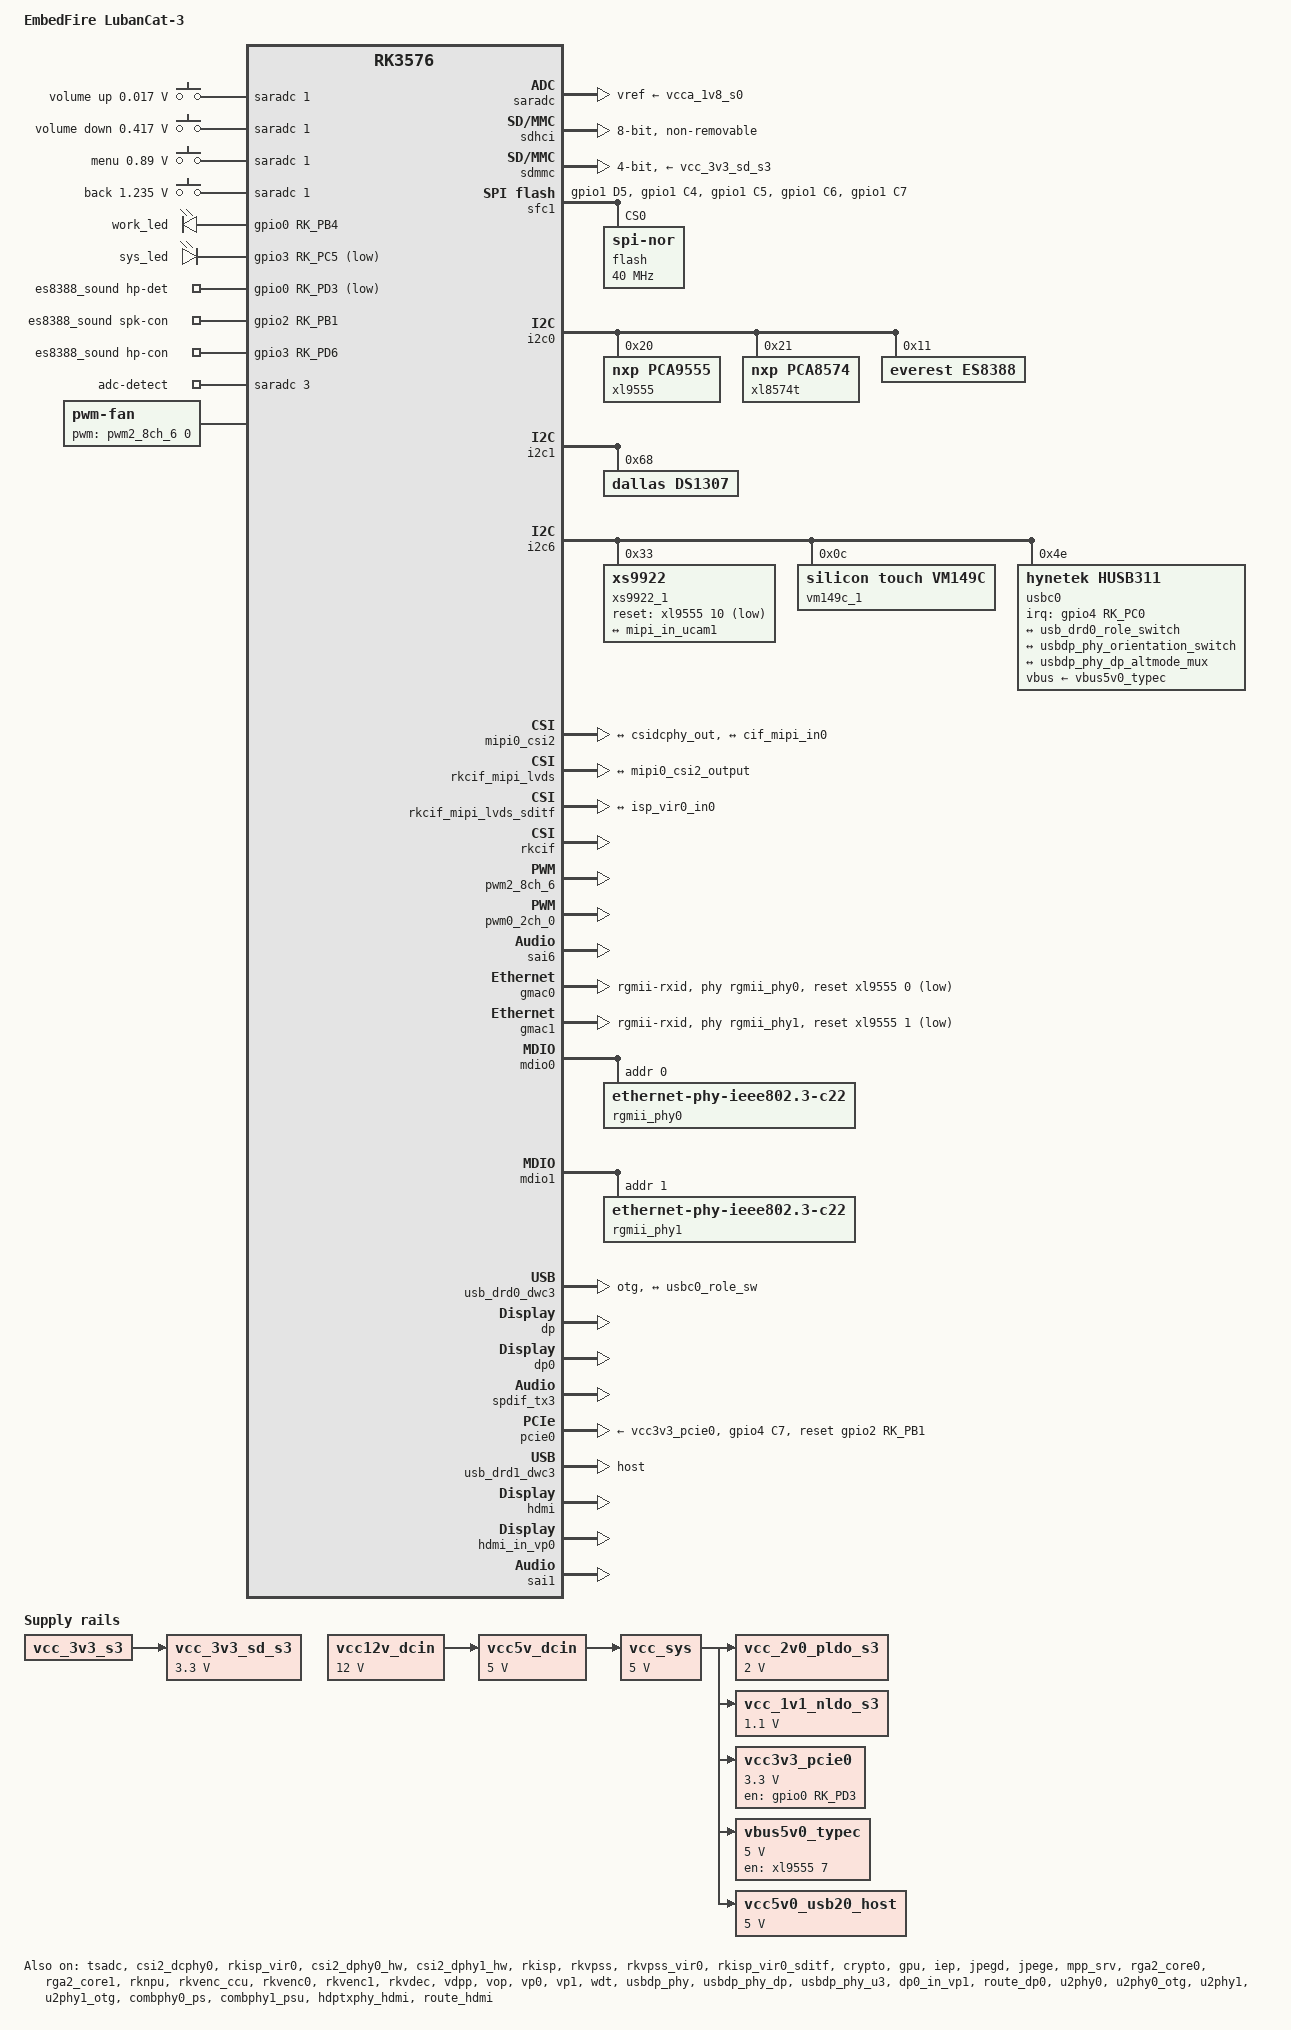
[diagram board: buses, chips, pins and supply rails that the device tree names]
// SPDX-License-Identifier: (GPL-2.0+ OR MIT)
/*
* Copyright (c) 2024 Rockchip Electronics Co., Ltd.
* Copyright (c) 2024 EmbedFire <embedfire@embedfire.com>
*/

/dts-v1/;
#include <dt-bindings/usb/pd.h>
#include <dt-bindings/gpio/gpio.h>
#include <dt-bindings/pwm/pwm.h>
#include <dt-bindings/pinctrl/rockchip.h>
//#include <dt-bindings/input/rk-input.h>
#include <dt-bindings/input/linux-event-codes.h>
#include <dt-bindings/display/drm_mipi_dsi.h>
#include <dt-bindings/display/rockchip_vop.h>
#include <dt-bindings/sensor-dev.h>
#include "rk3576.dtsi"
#include "rk3576-linux.dtsi"
#include "rk3576-rk806.dtsi"

// #include "rk3576-lubancat-3-dsi-vp2-1080x1920-5.5inch-ebf410125.dtsi"
// #include "rk3576-lubancat-3-dsi-vp2-1024x600-7inch-ebf410173.dtsi"
// #include "rk3576-lubancat-3-dsi-vp2-800x1280-10.1inch-ebf410177.dtsi"

// #include "rk3576-lubancat-3-csi.dtsi"

/ {
	model = "EmbedFire LubanCat-3";
	compatible = "embedfire,rk3576-lubancat-3", "rockchip,rk3576";

	adc_keys: adc-keys {
		compatible = "adc-keys";
		io-channels = <&saradc 1>;
		io-channel-names = "buttons";
		keyup-threshold-microvolt = <1800000>;
		poll-interval = <100>;

		vol-up-key {
			label = "volume up";
			linux,code = <KEY_VOLUMEUP>;
			press-threshold-microvolt = <17000>;
		};

		vol-down-key {
			label = "volume down";
			linux,code = <KEY_VOLUMEDOWN>;
			press-threshold-microvolt = <417000>;
		};

		menu-key {
			label = "menu";
			linux,code = <KEY_MENU>;
			press-threshold-microvolt = <890000>;
		};

		back-key {
			label = "back";
			linux,code = <KEY_BACK>;
			press-threshold-microvolt = <1235000>;
		};
	};

	leds: leds {
		compatible = "gpio-leds";
		work_led: work {
			gpios = <&gpio0 RK_PB4 GPIO_ACTIVE_HIGH>;
			linux,default-trigger = "heartbeat";
		};
	};

	vcc12v_dcin: vcc12v-dcin {
		compatible = "regulator-fixed";
		regulator-name = "vcc12v_dcin";
		regulator-always-on;
		regulator-boot-on;
		regulator-min-microvolt = <12000000>;
		regulator-max-microvolt = <12000000>;
	};

	vcc5v_dcin: vcc5v-dcin {
		compatible = "regulator-fixed";
		regulator-name = "vcc5v_dcin";
		regulator-always-on;
		regulator-boot-on;
		regulator-min-microvolt = <5000000>;
		regulator-max-microvolt = <5000000>;
		vin-supply = <&vcc12v_dcin>;
	};

	vcc_sys: vcc5v0-sys {
		compatible = "regulator-fixed";
		regulator-name = "vcc_sys";
		regulator-always-on;
		regulator-boot-on;
		regulator-min-microvolt = <5000000>;
		regulator-max-microvolt = <5000000>;
		vin-supply = <&vcc5v_dcin>;
	};

	vcc_2v0_pldo_s3: vcc-2v0-pldo-s3 {
		compatible = "regulator-fixed";
		regulator-name = "vcc_2v0_pldo_s3";
		regulator-boot-on;
		regulator-always-on;
		regulator-min-microvolt = <2000000>;
		regulator-max-microvolt = <2000000>;
		vin-supply = <&vcc_sys>;
	};

	vcc_1v1_nldo_s3: vcc-1v1-nldo-s3 {
		compatible = "regulator-fixed";
		regulator-name = "vcc_1v1_nldo_s3";
		regulator-boot-on;
		regulator-always-on;
		regulator-min-microvolt = <1100000>;
		regulator-max-microvolt = <1100000>;
		vin-supply = <&vcc_sys>;
	};

	vcc_3v3_sd_s3: vcc-3v3-sd-s3 {
		compatible = "regulator-fixed";
		regulator-name = "vcc_3v3_sd_s3";
		regulator-always-on;
		regulator-boot-on;
		regulator-min-microvolt = <3300000>;
		regulator-max-microvolt = <3300000>;
		vin-supply = <&vcc_3v3_s3>;
	};

	vcc3v3_pcie0: vcc3v3-pcie0 {
		compatible = "regulator-fixed";
		regulator-name = "vcc3v3_pcie0";
		regulator-min-microvolt = <3300000>;
		regulator-max-microvolt = <3300000>;
		enable-active-high;
		regulator-always-on;
		gpios = <&gpio0 RK_PD3 GPIO_ACTIVE_HIGH>;
		startup-delay-us = <5000>;
		vin-supply = <&vcc_sys>;
	};

	vbus5v0_typec: vbus5v0-typec {
		compatible = "regulator-fixed";
		regulator-name = "vbus5v0_typec";
		regulator-min-microvolt = <5000000>;
		regulator-max-microvolt = <5000000>;
		enable-active-high;
		gpio = <&xl9555 7 GPIO_ACTIVE_HIGH>;
		vin-supply = <&vcc_sys>;
	};

	// vcc5v0_usb30_host: vcc5v0-usb30-host {
	// 	compatible = "regulator-fixed";
	// 	regulator-name = "vcc5v0_usb30_host";
	// 	regulator-min-microvolt = <5000000>;
	// 	regulator-max-microvolt = <5000000>;
	// 	regulator-always-on;
	// 	regulator-boot-on;
	// 	enable-active-high;
	// 	gpio = <&gpio0 RK_PB0 GPIO_ACTIVE_HIGH>;
	// 	vin-supply = <&vcc_sys>;
	// 	pinctrl-names = "default";
	// 	pinctrl-0 = <&usb30_host_pwr_en>;
	// };

	vcc5v0_usb20_host: vcc5v0-usb20-host {
		compatible = "regulator-fixed";
		regulator-name = "vcc5v0_usb20_host";
		regulator-min-microvolt = <5000000>;
		regulator-max-microvolt = <5000000>;
		regulator-always-on;
		regulator-boot-on;
		enable-active-high;
		vin-supply = <&vcc_sys>;
	};

	// mipi_dsi_power: mipi-dsi-power {
	// 	compatible = "regulator-fixed";
	// 	regulator-name = "mipi_dsi_power";
	// 	regulator-min-microvolt = <5000000>;
	// 	regulator-max-microvolt = <5000000>;
	// 	regulator-always-on;
	// 	regulator-boot-on;
	// 	enable-active-high;
	// 	gpio = <&gpio0 RK_PB6 GPIO_ACTIVE_HIGH>;
	// 	vin-supply = <&vcc_sys>;
	// 	pinctrl-names = "default";
	// 	pinctrl-0 = <&lcd_pwr_en>;
	// };

	es8388_sound: es8388-sound {
		status = "okay";
		compatible = "rockchip,multicodecs-card";
		rockchip,card-name = "rockchip-es8388";
		hp-det-gpio = <&gpio0 RK_PD3 GPIO_ACTIVE_LOW>;
		io-channels = <&saradc 3>;
		io-channel-names = "adc-detect";
		keyup-threshold-microvolt = <1800000>;
		poll-interval = <100>;
		spk-con-gpio = <&gpio2 RK_PB1 GPIO_ACTIVE_HIGH>;
		hp-con-gpio = <&gpio3 RK_PD6 GPIO_ACTIVE_HIGH>;
		rockchip,pre-power-on-delay-ms = <30>;
		rockchip,post-power-down-delay-ms = <40>;
		rockchip,format = "i2s";
		rockchip,mclk-fs = <256>;
		rockchip,cpu = <&sai1>;
		rockchip,codec = <&es8388>;
		rockchip,audio-routing =
			"Headphone", "LOUT1",
			"Headphone", "ROUT1",
			"Speaker", "LOUT2",
			"Speaker", "ROUT2",
			"Headphone", "Headphone Power",
			"Headphone", "Headphone Power",
			"Speaker", "Speaker Power",
			"Speaker", "Speaker Power",
			"LINPUT1", "Main Mic",
			"LINPUT2", "Main Mic",
			"RINPUT1", "Headset Mic",
			"RINPUT2", "Headset Mic";
		pinctrl-names = "default";
		pinctrl-0 = <&hp_det>;
		play-pause-key {
			label = "playpause";
			linux,code = <KEY_PLAYPAUSE>;
			press-threshold-microvolt = <2000>;
		};
	};


	hdmi_sound: hdmi-sound {
		compatible = "rockchip,hdmi";
		rockchip,mclk-fs = <128>;
		rockchip,card-name = "rockchip-hdmi";
		rockchip,cpu = <&sai6>;
		rockchip,codec = <&hdmi>;
		rockchip,jack-det;
	};

	dp0_sound: dp0-sound {
		compatible = "rockchip,hdmi";
		rockchip,mclk-fs = <512>;
		rockchip,card-name = "rockchip-dp0";
		rockchip,cpu = <&spdif_tx3>;
		rockchip,codec = <&dp0 1>;
		rockchip,jack-det;
	};

	leds: leds {
		status = "okay";
		compatible = "gpio-leds";

		sys_led: sys-led {
			label = "sys_led";
			linux,default-trigger = "heartbeat";
			default-state = "on";
			gpios = <&gpio3 RK_PC5 GPIO_ACTIVE_LOW>;
			pinctrl-names = "default";
			pinctrl-0 = <&sys_status_led_pin>;
		};
	};

	fan: pwm-fan {
		compatible = "pwm-fan";
		#cooling-cells = <2>;
		pwms = <&pwm2_8ch_6 0 5000 0>;
		cooling-levels = <0 100 150 200 255>;
		rockchip,temp-trips = <
			40000	1
			55000	2
			60000	3
			65000	4
		>;
	};

	test-power {
		status = "okay";
	};
};

&saradc {
	status = "okay";
	vref-supply = <&vcca_1v8_s0>;
};

&tsadc {
	status = "okay";
};

&sdhci {
	bus-width = <8>;
	no-sdio;
	no-sd;
	non-removable;
	max-frequency = <200000000>;
	mmc-hs400-1_8v;
	mmc-hs400-enhanced-strobe;
	full-pwr-cycle-in-suspend;
	status = "okay";
};

&sdmmc {
	max-frequency = <200000000>;
	no-sdio;
	no-mmc;
	bus-width = <4>;
	cap-mmc-highspeed;
	cap-sd-highspeed;
	disable-wp;
	sd-uhs-sdr104;
	vmmc-supply = <&vcc_3v3_sd_s3>;
	vqmmc-supply = <&vccio_sd_s0>;
	pinctrl-names = "default";
	pinctrl-0 = <&sdmmc0_clk &sdmmc0_cmd &sdmmc0_det &sdmmc0_bus4>;
	status = "okay";
};

&sfc1 {
	status = "okay";
	pinctrl-names = "default";
	pinctrl-0 = <&fspi1m1_correct_pins &fspi1m1_csn0>;

	flash@0 {
		compatible = "jedec,spi-nor";
		reg = <0>;
		spi-max-frequency = <40000000>;
		spi-rx-bus-width = <4>;
		spi-tx-bus-width = <1>;
	};
};

&i2c0 {
	pinctrl-0 = <&i2c0m0_xfer>;
	status = "okay";

	xl9555: xl9555@20 {
		status = "okay";
		compatible = "nxp,pca9555";
		reg = <0x20>;
		gpio-controller;
		#gpio-cells = <2>;
		gpio-group-num = <200>;
	};

        xl8574t: xl8574@21 {
		status = "okay";
		compatible = "nxp,pca8574";
		reg = <0x21>;
		gpio-controller;
		#gpio-cells = <2>;
	};

	es8388: es8388@11 {
		status = "okay";
		#sound-dai-cells = <0>;
		compatible = "everest,es8388", "everest,es8323";
		reg = <0x11>;
		clocks = <&mclkout_sai1>;
		clock-names = "mclk";
		assigned-clocks = <&mclkout_sai1>;
		assigned-clock-rates = <12288000>;
		pinctrl-names = "default";
		pinctrl-0 = <&sai1m0_mclk>;
	};
};

&i2c1 {
	status = "okay";

	ds1307@68 {
		compatible = "dallas,ds1307";
		reg = <0x68>;
		status = "okay";
	};
};

&i2c4 {
	status = "disabled";
};

&i2c6 {
	status = "okay";
	pinctrl-names = "default";
	pinctrl-0 = <&i2c6m0_xfer>;

	xs9922_1: xs9922@33 {
        compatible = "xs9922";
        status = "okay";
        reg = <0x33>;
        clocks = <&cru CLK_MIPI_CAMERAOUT_M2>;
        clock-names = "xvclk";
        // power-domains = <&power RK3588_PD_VI>;
        // pinctrl-names = "default";
        // pinctrl-0 = <&mipim0_camera2_clk &xs9922_pwr_1>;
		// &xl9555 PCA_IO0_0
        reset-gpios = <&xl9555 10 GPIO_ACTIVE_LOW>;
        //power-gpios = <&xl9555 10 GPIO_ACTIVE_LOW>;
        //avdd-supply = <&vcc_avdd>;
        //dovdd-supply = <&vcc_dovdd>;
        //dvdd-supply = <&vcc_dvdd>;
        rockchip,camera-module-index = <0>;
        rockchip,camera-module-facing = "back";
        rockchip,camera-module-name = "default";
        rockchip,camera-module-lens-name = "default";
        rockchip,default_rect= <720 576>; 
        port {
            xs9922_out1: endpoint {
                remote-endpoint = <&mipi_in_ucam1>;
                data-lanes = <1 2 3 4>;
            };
        };
    };

	vm149c_1: vm149c@c {
                compatible = "silicon touch,vm149c";
                status = "okay";
                reg = <0x0c>;
                rockchip,camera-module-index = <0>;
                rockchip,camera-module-facing = "back";
        };

    // ov13855_1: ov13855@36 {
    //             compatible = "ovti,ov13855";
    //             status = "okay";
    //             reg = <0x36>;
    //             clocks = <&cru CLK_MIPI_CAMERAOUT_M1>;
    //             clock-names = "xvclk";
    //             pwdn-gpios = <&xl9555 8 GPIO_ACTIVE_HIGH>;
    //             power-domains = <&power RK3576_PD_VI>;
    //             rockchip,camera-module-index = <1>;
    //             rockchip,camera-module-facing = "back";
    //             rockchip,camera-module-name = "RK-CMK-8M-2-v1";
    //             rockchip,camera-module-lens-name = "CK8401";
    //             lens-focus = <&vm149c_1>;

    //             port {
    //                     camera5_out: endpoint {
    //                             remote-endpoint = <&mipi_dcphy_in_tl13855>;
    //                             data-lanes = <1 2 3 4>;
    //                     };
    //             };
    //     };

	usbc0: husb311@4e {
		compatible = "hynetek,husb311";
		reg = <0x4e>;
		interrupt-parent = <&gpio4>;
		interrupts = <RK_PC0 IRQ_TYPE_LEVEL_LOW>;
		pinctrl-names = "default";
		pinctrl-0 = <&usbc0_int>;
		vbus-supply = <&vbus5v0_typec>;
		status = "okay";

		port {
			usbc0_role_sw: endpoint {
				remote-endpoint = <&usb_drd0_role_switch>;
			};
		};

		usb_con: connector {
			compatible = "usb-c-connector";
			label = "USB-C";
			data-role = "dual";
			power-role = "dual";
			try-power-role = "sink";
			op-sink-microwatt = <1000000>;
			sink-pdos =
				<PDO_FIXED(5000, 1000, PDO_FIXED_USB_COMM)>;
			source-pdos =
				<PDO_FIXED(5000, 3000, PDO_FIXED_USB_COMM)>;
			mode-switch = <&dp>;

			altmodes {
				#address-cells = <1>;
				#size-cells = <0>;

				altmode@0 {
					reg = <0>;
					svid = <0xff01>;
					vdo = <0xffffffff>;
				};
			};

			ports {
				#address-cells = <1>;
				#size-cells = <0>;

				port@0 {
					reg = <0>;
					usbc0_orien_sw: endpoint {
						remote-endpoint = <&usbdp_phy_orientation_switch>;
					};
				};

				port@1 {
					reg = <1>;
					dp_altmode_mux: endpoint {
						remote-endpoint = <&usbdp_phy_dp_altmode_mux>;
					};
				};
			};
		};
	};
};

&csi2_dcphy0 {
	status = "okay";

	ports {
                #address-cells = <1>;
                #size-cells = <0>;
                port@0 {
				reg = <0>;
				#address-cells = <1>;
				#size-cells = <0>;

				mipi_in_ucam1: endpoint@1 {
					reg = <1>;
					remote-endpoint = <&xs9922_out1>;
					data-lanes = <1 2 3 4>;
				};
						};
                port@1 {
                        reg = <1>;
                        #address-cells = <1>;
                        #size-cells = <0>;

                        csidcphy_out: endpoint@0 {
                                reg = <0>;
                                remote-endpoint = <&mipi0_csi2_input>;
                        };
                };
        };
};


&mipi0_csi2 {
        status = "okay";

        ports {
                #address-cells = <1>;
                #size-cells = <0>;

                port@0 {
                        reg = <0>;
                        #address-cells = <1>;
                        #size-cells = <0>;

                        mipi0_csi2_input: endpoint@1 {
                                reg = <1>;
                                remote-endpoint = <&csidcphy_out>;
                        };
                };

                port@1 {
                        reg = <1>;
                        #address-cells = <1>;
                        #size-cells = <0>;

                        mipi0_csi2_output: endpoint@0 {
                                reg = <0>;
                                remote-endpoint = <&cif_mipi_in0>;
                        };
                };
        };
};


&rkcif_mipi_lvds {
        status = "okay";

        port {
                cif_mipi_in0: endpoint {
                        remote-endpoint = <&mipi0_csi2_output>;
                };
        };
};


&rkcif_mipi_lvds_sditf {
	status = "okay";

	port {
                mipi_lvds_sditf: endpoint {
                        remote-endpoint = <&isp_vir0_in0>;
                };
        };
};


&rkisp_vir0 {
        status = "okay";

        port {
                #address-cells = <1>;
                #size-cells = <0>;

                isp_vir0_in0: endpoint@0 {
                        reg = <0>;
                        remote-endpoint = <&mipi_lvds_sditf>;
                };
        };
};

&rkcif {
        status = "okay";
};

&csi2_dphy0_hw {
        status = "okay";
};

&csi2_dphy1_hw {
        status = "okay";
};

&rkcif_mmu {
        status = "okay";
};

&rkisp {
        status = "okay";
};

&rkisp_mmu {
        status = "okay";
};

&rkvpss {
        status = "okay";
};

&rkvpss_mmu {
        status = "okay";
};

&rkvpss_vir0 {
        status = "okay";
};

&rkisp_vir0_sditf {
	status = "okay";
};


&pwm2_8ch_6 {
	status = "okay";
	pinctrl-0 = <&pwm2m0_ch6>;
};

&pwm0_2ch_0 {
	compatible = "rockchip,remotectl-pwm-v4";
	pinctrl-names = "default";
	pinctrl-0 = <&pwm0m0_ch0>;
	remote_pwm_id = <0>;
	handle_cpu_id = <1>;
	remote_support_psci = <0>;
	status = "okay";

	ir_key_lubancat{
		rockchip,usercode = <0xff00>;
		rockchip,key_table =
			<0xba   KEY_POWER>,   //电源按键
			<0xb8   KEY_MENU>,     //菜单按键
			<0xbc   KEY_BACK>,      //返回按键
			<0xbb   KEY_HOME>,      //home键按键
			<0xea   KEY_PLAY>,      //播放按键
			<0xbf   KEY_VOLUMEUP>,  //音量加按键
			<0xe6   KEY_VOLUMEDOWN>,   //音量键按键
			<0xf6   KEY_FASTFORWARD>,  //快进按键
			<0xf8   KEY_FASTREVERSE>,  //快退按键
			<0xf2   KEY_BACKSPACE>,    //BaskSpace按键
			<0xf3   KEY_1>,            //按键1
			<0xe7   KEY_2>,
			<0xa1   KEY_3>,
			<0xf7   KEY_4>,
			<0xe3   KEY_5>,
			<0xa5   KEY_6>,
			<0xbd   KEY_7>,
			<0xad   KEY_8>,
			<0xb5   KEY_9>,
			<0xe9   KEY_0>;            //按键0
	};

	ir_key1 {
		rockchip,usercode = <0x4040>;
		rockchip,key_table =
			<0xf2	KEY_REPLY>,
			<0xba	KEY_BACK>,
			<0xf4	KEY_UP>,
			<0xf1	KEY_DOWN>,
			<0xef	KEY_LEFT>,
			<0xee	KEY_RIGHT>,
			<0xbd	KEY_HOME>,
			<0xea	KEY_VOLUMEUP>,
			<0xe3	KEY_VOLUMEDOWN>,
			<0xe2	KEY_SEARCH>,
			<0xb2	KEY_POWER>,
			<0xbc	KEY_MUTE>,
			<0xec	KEY_MENU>,
			<0xbf	0x190>,
			<0xe0	0x191>,
			<0xe1	0x192>,
			<0xe9	183>,
			<0xe6	248>,
			<0xe8	185>,
			<0xe7	186>,
			<0xf0	388>,
			<0xbe	0x175>;
	};
};

// &ufs {
// 	reset-gpios = <&gpio4 RK_PD0 GPIO_ACTIVE_HIGH>;
// 	vcc-supply = <&vcc_ufs_s0>;
// 	vccq-supply = <&vcc1v2_ufs_vccq_s0>;
// 	vccq2-supply = <&vcc1v8_ufs_vccq2_s0>;
// 	status = "disabled";
// };

&cpu_l0 {
	cpu-supply = <&vdd_cpu_lit_s0>;
};

&cpu_b0 {
	cpu-supply = <&vdd_cpu_big_s0>;
};

&crypto {
	status = "okay";
};

&gpu {
	mali-supply = <&vdd_gpu_s0>;
	status = "okay";
};

&iep {
	status = "okay";
};

&iep_mmu {
	status = "okay";
};

&jpegd {
	status = "okay";
};

&jpege {
	status = "okay";
};

&jpeg_mmu {
	status = "okay";
};

&mpp_srv {
	status = "okay";
};

&rga2_core0 {
	status = "okay";
};

&rga2_core0_mmu {
	status = "okay";
};

&rga2_core1 {
	status = "okay";
};

&rga2_core1_mmu {
	status = "okay";
};

&rknpu {
	rknpu-supply = <&vdd_npu_s0>;
	status = "okay";
};

&rknpu_mmu {
	status = "okay";
};

&rkvenc_ccu {
	status = "okay";
};

&rkvenc0 {
	status = "okay";
};

&rkvenc0_mmu {
	status = "okay";
};

&rkvenc1 {
	status = "okay";
};

&rkvenc1_mmu {
	status = "okay";

};

&rkvdec {
	status = "okay";
};

&rkvdec_mmu {
	status = "okay";
};

&rockchip_suspend {
	status = "okay";
	rockchip,sleep-debug-en = <1>;

	rockchip,sleep-io-ret-config = <
		(0
		| RKPM_VCCIO3_RET_EN
		)
	>;

	rockchip,regulator-on-before-mem = <&vdd_npu_s0>;
};

&sai6 {
	status = "okay";
};

&vdpp {
	status = "okay";
};

&vop {
	status = "okay";
	vop-supply = <&vdd_logic_s0>;
};

&vop_mmu {
	status = "okay";
};

&vp0 {
	rockchip,plane-mask = <(1 << ROCKCHIP_VOP2_CLUSTER0 | 1 << ROCKCHIP_VOP2_ESMART0)>;
	rockchip,primary-plane = <ROCKCHIP_VOP2_ESMART0>;
	cursor-win-id = <ROCKCHIP_VOP2_CLUSTER0>;
};

&vp1 {
	rockchip,plane-mask = <(1 << ROCKCHIP_VOP2_CLUSTER1 | 1 << ROCKCHIP_VOP2_ESMART1)>;
	rockchip,primary-plane = <ROCKCHIP_VOP2_ESMART1>;
	cursor-win-id = <ROCKCHIP_VOP2_CLUSTER1>;
};

&vp2 {
	rockchip,plane-mask = <(1 << ROCKCHIP_VOP2_ESMART2 | 1 << ROCKCHIP_VOP2_ESMART3)>;
	rockchip,primary-plane = <ROCKCHIP_VOP2_ESMART2>;
	cursor-win-id = <ROCKCHIP_VOP2_ESMART3>;
};

&vp2 {
	esmart_lb_mode = /bits/ 8 <5>;
};


&gmac0 {
	/* Use rgmii-rxid mode to disable rx delay inside Soc */
	phy-mode = "rgmii-rxid";
	clock_in_out = "output";

	snps,reset-gpio = <&xl9555 0 GPIO_ACTIVE_LOW>;
	snps,reset-active-low;
	/* Reset time is 20ms, 100ms for rtl8211f */
	snps,reset-delays-us = <0 20000 100000>;

	pinctrl-names = "default";
	pinctrl-0 = <&eth0m1_miim
		     &eth0m1_tx_bus2
		     &eth0m1_rx_bus2
		     &eth0m1_rgmii_clk
		     &eth0m1_rgmii_bus>;

	tx_delay = <0x21>;
	/* rx_delay = <0x3f>; */

	phy-handle = <&rgmii_phy0>;
	status = "okay";
};

&gmac1 {
	/* Use rgmii-rxid mode to disable rx delay inside Soc */
	phy-mode = "rgmii-rxid";
	clock_in_out = "output";

	snps,reset-gpio = <&xl9555 1 GPIO_ACTIVE_LOW>;
	snps,reset-active-low;
	/* Reset time is 20ms, 100ms for rtl8211f */
	snps,reset-delays-us = <0 20000 100000>;

	pinctrl-names = "default";
	pinctrl-0 = <&eth1m0_miim
		     &eth1m0_tx_bus2
		     &eth1m0_rx_bus2
		     &eth1m0_rgmii_clk
		     &eth1m0_rgmii_bus>;

	tx_delay = <0x20>;
	/* rx_delay = <0x3f>; */

	phy-handle = <&rgmii_phy1>;
	status = "okay";
};

&mdio0 {
	rgmii_phy0: phy@1 {
		compatible = "ethernet-phy-ieee802.3-c22";
		reg = <0x0>;
		// clocks = <&cru REFCLKO25M_GMAC0_OUT>;
		// motorcomm,keep-pll-enabled;
		// motorcomm,auto-sleep-disabled;
	};
};

&mdio1 {
	rgmii_phy1: phy@1 {
		compatible = "ethernet-phy-ieee802.3-c22";
		reg = <0x1>;
		// clocks = <&cru REFCLKO25M_GMAC1_OUT>;
		// motorcomm,keep-pll-enabled;
		// motorcomm,auto-sleep-disabled;
	};
};

/* this is a watchdog */
&wdt {
	status = "okay";
};

/* USB3 OTG0/DP1.4 Alt */
&usbdp_phy {
	orientation-switch;
	svid = <0xff01>;
	sbu1-dc-gpios = <&gpio4 RK_PC4 GPIO_ACTIVE_HIGH>;
	sbu2-dc-gpios = <&gpio4 RK_PC5 GPIO_ACTIVE_HIGH>;
	status = "okay";

	port {
		#address-cells = <1>;
		#size-cells = <0>;

		usbdp_phy_orientation_switch: endpoint@0 {
			reg = <0>;
			remote-endpoint = <&usbc0_orien_sw>;
		};

		usbdp_phy_dp_altmode_mux: endpoint@1 {
			reg = <1>;
			remote-endpoint = <&dp_altmode_mux>;
		};
	};
};

&usbdp_phy_dp {
	status = "okay";
};

&usbdp_phy_u3 {
	status = "okay";
};

&usb_drd0_dwc3 {
	dr_mode = "otg";
	usb-role-switch;
	status = "okay";
	snps,parkmode-disable-hs-quirk;
	snps,parkmode-disable-ss-quirk;
	snps,dis_u3_susphy_quirk;
	snps,dis_u2_susphy_quirk;
	port {
		usb_drd0_role_switch: endpoint {
			remote-endpoint = <&usbc0_role_sw>;
		};
	};
};

/* DP */
&dp {
	status = "okay";
};

&dp0 {
	status = "okay";
};

&dp0_in_vp0 {
	status = "disabled";
};

&dp0_in_vp1 {
	status = "okay";
};

&dp0_in_vp2 {
	status = "disabled";
};

&vp1 {
	status = "okay";
};

&route_dp0 {
	status = "okay";
	connect = <&vp1_out_dp0>;
};

&dp0_sound {
	status = "okay";
};

&spdif_tx3 {
	status = "okay";
};

/* USB2 OTG0 */
&u2phy0 {
	status = "okay";
};

&u2phy0_otg {
	rockchip,typec-vbus-det;
	status = "okay";
};

/* USB2 OTG1 */
&u2phy1 {
	status = "okay";
};

&u2phy1_otg {
	phy-supply = <&vcc5v0_usb20_host>;
	dr_mode = "host";
	status = "okay";
};

/* PCIE0/SATA0 Combo PHY0 */
&combphy0_ps {
	status = "okay";
};

&pcie0 {
	reset-gpios = <&gpio2 RK_PB1 GPIO_ACTIVE_HIGH>;
	disable-gpios = <&gpio4 RK_PC7 GPIO_ACTIVE_HIGH>;
	vpcie3v3-supply = <&vcc3v3_pcie0>;
	pinctrl-names = "default";
	pinctrl-0 = <&pcie_disable_gpio>;
	status = "okay";
};

&sata0 {
	vpcie3v3-supply = <&vcc3v3_pcie0>;
	status = "disabled";
};

/* PCIE1/SATA1/USB3_OTG1 Combo PHY1 */
&combphy1_psu {
	status = "okay";
};

&usb_drd1_dwc3 {
	dr_mode = "host";
	status = "okay";
	snps,parkmode-disable-hs-quirk;
	snps,parkmode-disable-ss-quirk;
	snps,dis_u3_susphy_quirk;
	snps,dis_u2_susphy_quirk;
};

/* HDMI TX/eDP TX Combo Phy */
&display_subsystem {
	clocks = <&hdptxphy_hdmi>;
	clock-names = "hdmi0_phy_pll";
};

&hdmi {
	enable-gpios = <&gpio4 RK_PC6 GPIO_ACTIVE_HIGH>;
	cec-enable = "true";
	rockchip,sda-falling-delay-ns = <360>;
	status = "okay";
};

&vp0 {
	status = "okay";
};

&hdmi_in_vp0 {
	status = "okay";
};

&hdmi_in_vp1 {
	status = "disabled";
};

&hdmi_in_vp2 {
	status = "disabled";
};

&hdmi_in_vopl {
	status = "disabled";
};

&hdptxphy_hdmi {
	status = "okay";
};

&route_hdmi {
	status = "okay";
	connect = <&vp0_out_hdmi>;
};

&hdmi_sound {
	status = "okay";
};

&sai1 {
	status = "okay";
	rockchip,sai-tx-route = <2 1 0 3>;
	pinctrl-names = "default";
	pinctrl-0 = <&sai1m0_lrck
			&sai1m0_sclk
			&sai1m0_sdi0
			&sai1m0_sdo2>;
};

&pinctrl {
	leds {
		sys_status_led_pin: sys-status-led-pin {
			rockchip,pins = <3 RK_PC5 RK_FUNC_GPIO &pcfg_pull_none>;
		};
	};

	hym8563 {
		hym8563_int: hym8563-int {
			rockchip,pins = <0 RK_PA5 RK_FUNC_GPIO &pcfg_pull_up>;
		};
	};

	usb {
		usbc0_int: usbc0-int {
			rockchip,pins = <4 RK_PC0 RK_FUNC_GPIO &pcfg_pull_up>;
		};
	};

	mipi-dsi {
		lcd_pwr_en: lcd-pwr-en {
			rockchip,pins = <0 RK_PB6 RK_FUNC_GPIO &pcfg_pull_none>;
		};
	};

	headphone {
		hp_det: hp-det {
			rockchip,pins = <4 RK_PB0 RK_FUNC_GPIO &pcfg_pull_up>;
		};
	};

	pcie {
		pcie_disable_gpio: pcie-disable-gpio {
			rockchip,pins = <4 RK_PC7 RK_FUNC_GPIO &pcfg_pull_up>;
		};
	};

	fspi1m1_correct {
		fspi1m1_correct_pins: fspi1m1-correct-pins {
			rockchip,pins =
				/* fspi1_clk_m1 */
				<1 RK_PD5 3 &pcfg_pull_none>,
				/* fspi1_d0_m1 */
				<1 RK_PC4 3 &pcfg_pull_none>,
				/* fspi1_d1_m1 */
				<1 RK_PC5 3 &pcfg_pull_none>,
				/* fspi1_d2_m1 */
				<1 RK_PC6 3 &pcfg_pull_none>,
				/* fspi1_d3_m1 */
				<1 RK_PC7 3 &pcfg_pull_none>;
		};
	};
};
